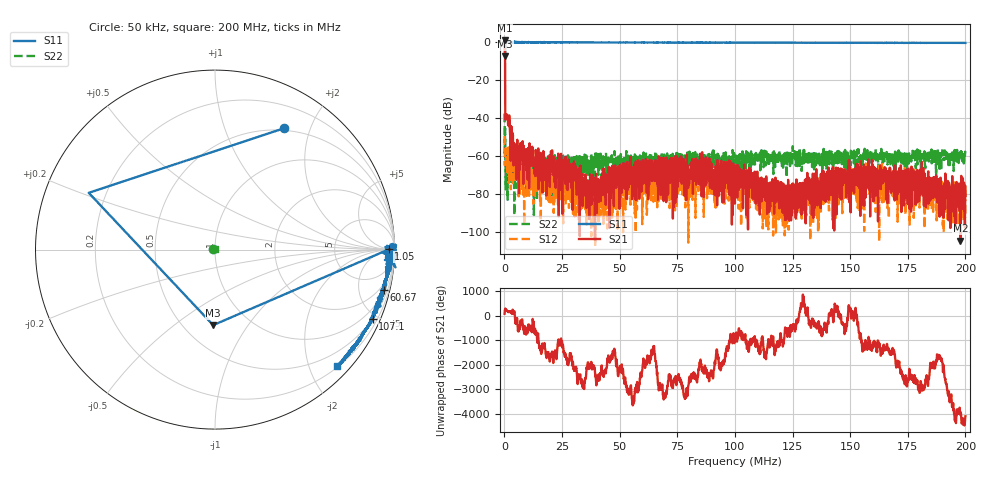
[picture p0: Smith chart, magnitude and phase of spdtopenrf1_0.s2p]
! 26-Feb-26 10:52:54 AM
! E:\VNA_MEASUREMENTS\SPDT1_OPENSHORT\SPDTOPENRF1_0.S2P
! CHANNEL.1
! TR.MEASUREMENT
! CORRECTED.DATA
# GHZ S RI R 50.0
! FREQ.GHZ  S11RE  S11IM  S21RE  S21IM  S12RE  S12IM  S22RE  S22IM
!; PortSelection: Port_12
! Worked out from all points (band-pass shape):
!   2000 points, 50 kHz to 200 MHz, reference 50 ohm
!   highest |S21| = 0.75 dB at 150 kHz (marker M1); lowest = -104.4 dB at 197.8 MHz (marker M2)
!   |S21| within 3 dB of the highest: start of sweep to 191.2 kHz
!   lowest |S11| = -7.5 dB at 250 kHz (marker M3), VSWR 2.45, Z = 34.3 - j35.1 ohm
!   |S11| at or under -10 dB: nowhere
!   |S22| runs from -91.0 to -37.6 dB; largest |S21 - S12| = 1.1
!   S11 on the Smith chart (normalised r, x): 50 kHz: 0.48, +1.61; 1.05 MHz: 58, +9; 60.67 MHz: 1.16, -8.27; 107.1 MHz: 0.47, -4.69; 200 MHz: 0.22, -2.49
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5e-05  0.3819 0.6749  0.0682 0.8487  0.00207 -0.0027  -0.0131 0.000725
0.000150025  -0.7035 0.3164  -0.5903 -0.9166  -0.00042 -0.000389  -0.00105 -0.000569
0.00025005  -0.0102 -0.4209  -0.3091 -0.3558  0.000449 0.000811  0.00353 -0.00409
0.00105025  0.9669 0.00492  -0.0104 -0.0048  0.000337 -0.000188  -0.000474 -0.000622
0.001350325  1.011 -0.0187  -0.0106 -0.00412  -0.000172 0.000347  1.02e-05 -7.07e-05
0.003350825  0.9931 0.0037  -0.00122 0.00322  0.000435 -0.000125  -0.00108 0.000184
0.005751426  0.9711 -0.0319  3.8e-06 -0.00134  0.000308 -0.000152  0.000491 0.000204
0.020055  0.9764 -0.0855  -0.000467 -0.000167  -5.22e-05 -0.000166  0.000412 -3.88e-05
0.03345835  0.9587 -0.1319  0.00012 -0.000201  -0.000103 -2.28e-05  0.000556 0.000552
0.03785946  0.9594 -0.1465  2.94e-05 9.42e-05  3.53e-05 0.000161  0.000431 0.000754
0.03995998  0.9581 -0.1573  -3.15e-05 0.000139  3e-05 -9.26e-05  0.000926 0.000201
0.06066516  0.9408 -0.2263  -4.89e-05 -0.000353  -4.94e-05 -0.000275  0.000524 0.000333
0.06676668  0.9365 -0.2488  0.000308 0.0005  -0.000126 -1.76e-05  0.000718 0.000394
0.09257314  0.8936 -0.3381  -0.000271 -6.87e-05  -0.000304 -4.44e-05  0.000514 0.000147
0.100075  0.8875 -0.358  -0.000104 -0.000112  -1.07e-05 -0.000225  0.000577 0.000346
0.1070768  0.8785 -0.3883  -5.9e-06 -0.000149  -4.9e-05 -0.000305  0.000442 0.000718
0.1142786  0.8662 -0.4056  7.74e-05 -0.000132  -6e-05 1.11e-05  0.000368 0.000648
0.1333833  0.8305 -0.4604  -2.77e-05 -8e-06  -5.79e-05 -1.96e-05  0.000513 0.000645
0.1527882  0.7911 -0.5209  -0.000182 -0.000323  5.7e-05 -2.54e-05  0.000428 0.00045
0.1666917  0.7659 -0.56  -5.16e-05 0.000401  -0.000127 4.74e-05  0.000549 0.000846
0.1977994  0.6892 -0.6399  3.9e-06 4.6e-06  -3.48e-05 1.3e-05  0.000543 0.000652
0.2  0.6818 -0.6476  -6.97e-05 -5.55e-05  2.02e-05 1.34e-05  0.000355 0.00122
